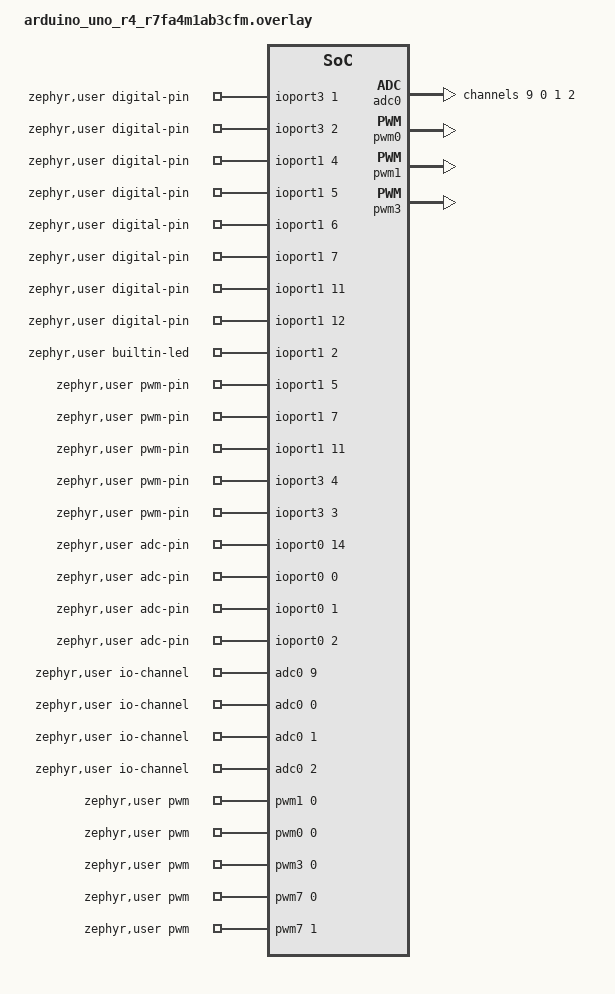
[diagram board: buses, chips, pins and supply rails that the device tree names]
/*
 * Copyright (c) Arduino s.r.l. and/or its affiliated companies
 *
 * SPDX-License-Identifier: Apache-2.0
 */

#include <zephyr/dt-bindings/pwm/pwm.h>
#include <zephyr/dt-bindings/pwm/ra_pwm.h>

/* RA4M1 has 256 KB flash. Split as:
 *   0x00000 - 0x04000 (16 KB)   bootloader
 *   0x04000 - 0x23000 (124 KB)  loader (image-0)
 *   0x23000 - 0x40000 (116 KB)  user_sketch
 */
&code_flash {
	/delete-node/ partitions;

	partitions {
		ranges;
		#address-cells = <1>;
		#size-cells = <1>;

		boot_partition: partition@0 {
			compatible = "zephyr,mapped-partition";
			label = "bootloader";
			reg = <0x00000000 DT_SIZE_K(16)>;
			read-only;
		};

		code_partition: partition@4000 {
			compatible = "zephyr,mapped-partition";
			label = "image-0";
			reg = <0x00004000 DT_SIZE_K(124)>;
		};

		user_sketch: partition@23000 {
			compatible = "zephyr,mapped-partition";
			label = "user_sketch";
			reg = <0x00023000 DT_SIZE_K(116)>;
		};
	};
};

/* The option-setting memory (0x01010018) belongs to the Arduino bootloader at
 * 0x0: don't emit it from the loader, or loader.bin is padded to 16 MB.
 */
&option_setting_osis {
	status = "disabled";
};

&adc0 {
	#address-cells = <1>;
	#size-cells = <0>;

	a0: channel@9 {
		reg = <9>;
		zephyr,gain = "ADC_GAIN_1";
		zephyr,reference = "ADC_REF_INTERNAL";
		zephyr,acquisition-time = <ADC_ACQ_TIME_DEFAULT>;
		zephyr,resolution = <14>;
	};

	a1: channel@0 {
		reg = <0>;
		zephyr,gain = "ADC_GAIN_1";
		zephyr,reference = "ADC_REF_INTERNAL";
		zephyr,acquisition-time = <ADC_ACQ_TIME_DEFAULT>;
		zephyr,resolution = <14>;
	};

	a2: channel@1 {
		reg = <1>;
		zephyr,gain = "ADC_GAIN_1";
		zephyr,reference = "ADC_REF_INTERNAL";
		zephyr,acquisition-time = <ADC_ACQ_TIME_DEFAULT>;
		zephyr,resolution = <14>;
	};

	a3: channel@2 {
		reg = <2>;
		zephyr,gain = "ADC_GAIN_1";
		zephyr,reference = "ADC_REF_INTERNAL";
		zephyr,acquisition-time = <ADC_ACQ_TIME_DEFAULT>;
		zephyr,resolution = <14>;
	};
};

/ {
	zephyr,user {
		/* D0..D13 then A0..A5 (A4/A5 are also SDA/SCL), as in the Renesas core. */
		digital-pin-gpios = <&ioport3 1 GPIO_ACTIVE_HIGH>,	/* D0  RXD (P301) */
				    <&ioport3 2 GPIO_ACTIVE_HIGH>,	/* D1  TXD (P302) */
				    <&ioport1 4 GPIO_ACTIVE_HIGH>,	/* D2  (P104)     */
				    <&ioport1 5 GPIO_ACTIVE_HIGH>,	/* D3  (P105)     */
				    <&ioport1 6 GPIO_ACTIVE_HIGH>,	/* D4  (P106)     */
				    <&ioport1 7 GPIO_ACTIVE_HIGH>,	/* D5  (P107)     */
				    <&ioport1 11 GPIO_ACTIVE_HIGH>,	/* D6  (P111)     */
				    <&ioport1 12 GPIO_ACTIVE_HIGH>,	/* D7  (P112)     */
				    <&ioport3 4 GPIO_ACTIVE_HIGH>,	/* D8  (P304)     */
				    <&ioport3 3 GPIO_ACTIVE_HIGH>,	/* D9  (P303)     */
				    <&ioport1 3 GPIO_ACTIVE_HIGH>,	/* D10 (P103) CS  */
				    <&ioport4 11 GPIO_ACTIVE_HIGH>,	/* D11 (P411) MOSI*/
				    <&ioport4 10 GPIO_ACTIVE_HIGH>,	/* D12 (P410) MISO*/
				    <&ioport1 2 GPIO_ACTIVE_HIGH>,	/* D13 (P102) SCK */

				    <&ioport0 14 GPIO_ACTIVE_HIGH>,	/* A0  (P014) */
				    <&ioport0 0 GPIO_ACTIVE_HIGH>,	/* A1  (P000) */
				    <&ioport0 1 GPIO_ACTIVE_HIGH>,	/* A2  (P001) */
				    <&ioport0 2 GPIO_ACTIVE_HIGH>,	/* A3  (P002) */
				    <&ioport1 1 GPIO_ACTIVE_HIGH>,	/* A4  (P101) */
				    <&ioport1 0 GPIO_ACTIVE_HIGH>;	/* A5  (P100) */

		builtin-led-gpios = <&ioport1 2 GPIO_ACTIVE_HIGH>;	/* D13 LED */

		pwm-pin-gpios = <&ioport1 5 0>,				/* D3 GPT1_A */
				<&ioport1 7 0>,				/* D5 GPT0_A */
				<&ioport1 11 0>,			/* D6 GPT3_A */
				<&ioport3 4 0>,				/* D8 GPT7_A */
				<&ioport3 3 0>;				/* D9 GPT7_B */

		serials = <&uart9>,					/* Serial  = USB-C via the ESP32-S3 bridge */
			  <&uart2>;					/* Serial1 = D0/D1 */
		i2cs = <&iic1>,						/* Wire  = A4/A5 */
		       <&iic0>;						/* Wire1 = Qwiic connector */
		spis = <&spi0>;						/* SPI = D11/D12/D13 */

		pwms = <&pwm1 0 PWM_HZ(490) PWM_POLARITY_NORMAL>,
		       <&pwm0 0 PWM_HZ(490) PWM_POLARITY_NORMAL>,
		       <&pwm3 0 PWM_HZ(490) PWM_POLARITY_NORMAL>,
		       <&pwm7 0 PWM_HZ(490) PWM_POLARITY_NORMAL>,
		       <&pwm7 1 PWM_HZ(490) PWM_POLARITY_NORMAL>;

		io-channels = <&adc0 9>,
			      <&adc0 0>,
			      <&adc0 1>,
			      <&adc0 2>;

		adc-pin-gpios = <&ioport0 14 0>,			/* A0 */
				<&ioport0 0 0>,				/* A1 */
				<&ioport0 1 0>,				/* A2 */
				<&ioport0 2 0>;				/* A3 */
	};
};

/* PWM on D3, D5 and D6 (marked ~ on the board, as in the Renesas core). The
 * pins are muxed to the timer only by analogWrite() (the "arduino" state), so
 * they stay usable as GPIO until then. D10/D11 are left to SPI.
 * ICU slots 4-7 and 24-25 are free; they are only used with PWM capture/events.
 */
&pinctrl {
	pwm_empty: pwm_empty {
		group1 {
			psels = <>;
		};
	};

	pwm0_arduino: pwm0_arduino {
		group1 {
			/* GTIOC0A (D5) */
			psels = <RA_PSEL(RA_PSEL_GPT1, 1, 7)>;
		};
	};

	pwm1_arduino: pwm1_arduino {
		group1 {
			/* GTIOC1A (D3) */
			psels = <RA_PSEL(RA_PSEL_GPT1, 1, 5)>;
		};
	};

	pwm3_arduino: pwm3_arduino {
		group1 {
			/* GTIOC3A (D6) */
			psels = <RA_PSEL(RA_PSEL_GPT1, 1, 11)>;
		};
	};
};

&pwm0 {
	status = "okay";
	zephyr,deferred-init;
	pinctrl-0 = <&pwm_empty>;
	pinctrl-1 = <&pwm_empty>;
	pinctrl-2 = <&pwm0_arduino>;
	pinctrl-names = "default", "sleep", "arduino";
	interrupts = <4 1>, <5 1>;
	interrupt-names = "gtioca", "overflow";
};

&pwm1 {
	status = "okay";
	zephyr,deferred-init;
	pinctrl-0 = <&pwm_empty>;
	pinctrl-1 = <&pwm_empty>;
	pinctrl-2 = <&pwm1_arduino>;
	pinctrl-names = "default", "sleep", "arduino";
	interrupts = <6 1>, <7 1>;
	interrupt-names = "gtioca", "overflow";
};

&pwm3 {
	status = "okay";
	zephyr,deferred-init;
	pinctrl-0 = <&pwm_empty>;
	pinctrl-1 = <&pwm_empty>;
	pinctrl-2 = <&pwm3_arduino>;
	pinctrl-names = "default", "sleep", "arduino";
	interrupts = <24 1>, <25 1>;
	interrupt-names = "gtioca", "overflow";
	/* GPT3 is 16-bit: PCLKD/4 = 12 MHz gives ~24490 counts at 490 Hz */
	divider = <RA_PWM_SOURCE_DIV_4>;
};

/* GPT7 (D8/D9) is 16-bit too: without a divider 490 Hz needs ~98k counts and
 * every pwm_set() fails with "Out of range period cycles".
 */
&pwm7 {
	divider = <RA_PWM_SOURCE_DIV_4>;
};
